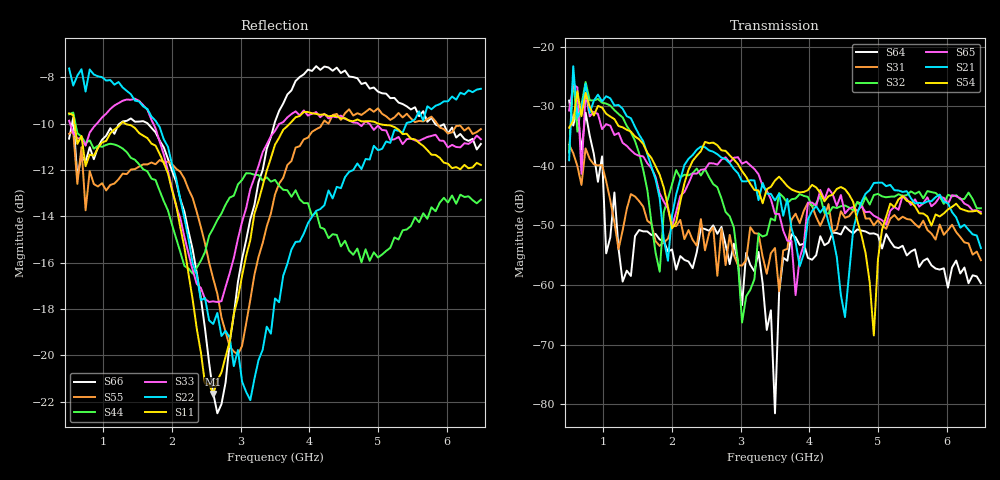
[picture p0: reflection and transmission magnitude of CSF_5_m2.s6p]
!Keysight Technologies,M9804A,MY58100912,A.14.10.03
!Date: Thursday, April 27, 2023 10:28:33
!Correction: S11(C  6-Port  )
!S12(C  6-Port  )
!S13(C  6-Port  )
!S14(C  6-Port  )
!S15(C  6-Port  )
!S16(C  6-Port  )
!S21(C  6-Port  )
!S22(C  6-Port  )
!S23(C  6-Port  )
!S24(C  6-Port  )
!S25(C  6-Port  )
!S26(C  6-Port  )
!S31(C  6-Port  )
!S32(C  6-Port  )
!S33(C  6-Port  )
!S34(C  6-Port  )
!S35(C  6-Port  )
!S36(C  6-Port  )
!S41(C  6-Port  )
!S42(C  6-Port  )
!S43(C  6-Port  )
!S44(C  6-Port  )
!S45(C  6-Port  )
!S46(C  6-Port  )
!S51(C  6-Port  )
!S52(C  6-Port  )
!S53(C  6-Port  )
!S54(C  6-Port  )
!S55(C  6-Port  )
!S56(C  6-Port  )
!S61(C  6-Port  )
!S62(C  6-Port  )
!S63(C  6-Port  )
!S64(C  6-Port  )
!S65(C  6-Port  )
!S66(C  6-Port  )
!S6P File: Measurement: :
# Hz S  RI  R 50
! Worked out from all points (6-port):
!   101 points, 500 MHz to 6.5 GHz, reference 50 ohm
!   strongest paths, dB at 500 MHz, 2 GHz, 3.5 GHz, 5 GHz, 6.5 GHz:
!     S54: -33.6, -50.5, -42.5, -55.7, -48.0
!     S21: -39.1, -48.3, -45.8, -42.8, -53.8
!     S65: -30.7, -50.2, -48.1, -48.7, -47.8
!     S32: -37.8, -43.1, -49.2, -44.7, -47.1
!     S31: -36.4, -50.1, -53.8, -49.1, -55.8
!     S64: -29.1, -54.0, -81.5, -51.6, -59.7
!   lowest |S11| = -21.7 dB at 2.6 GHz (marker M1), VSWR 1.18, Z = 42.6 + j2.06 ohm
!   |S11| at or under -10 dB: 578 MHz to 1.257 GHz (679.2 MHz wide, 74 % of centre); 1.324 GHz to 3.713 GHz (2.39 GHz wide, 94.9 % of centre); 5.013 GHz to end of sweep
